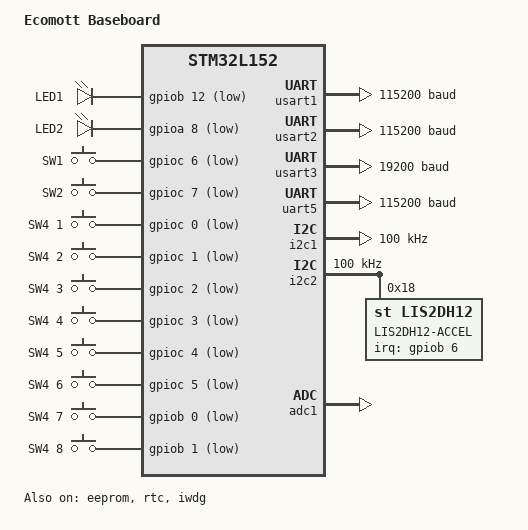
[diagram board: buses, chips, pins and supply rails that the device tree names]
/*
 * Copyright (c) 2020 Ecomott, Inc.
 *
 * SPDX-License-Identifier: Apache-2.0
 */

/dts-v1/;
#include <st/l1/stm32l152Xe.dtsi>

/ {
	model = "Ecomott Baseboard";
	compatible = "st,stm32l152re-nucleo", "st,stm32l152";

	chosen {
		zephyr,console = &usart1;
		zephyr,shell-uart = &usart1;
		zephyr,sram = &sram0;
		zephyr,flash = &flash0;
	};

	leds {
		compatible = "gpio-leds";

		led_1: led_0 {
			gpios = <&gpiob 12 GPIO_ACTIVE_LOW>;
			label = "LED1";
		};
		led_2: led_1 {
			gpios = <&gpioa 8 GPIO_ACTIVE_LOW>;
			label = "LED2";
		};
	};

	gpio_keys {
		compatible = "gpio-keys";

		/* Tact SW */
		sw_1: sw_1 {
			label = "SW1";
			gpios = <&gpioc 6 GPIO_ACTIVE_LOW>;
		};
		sw_2: sw_2 {
			label = "SW2";
			gpios = <&gpioc 7 GPIO_ACTIVE_LOW>;
		};

		/* DIP SW */
		sw_4_1: sw_4_1 {
			label = "SW4 1";
			gpios = <&gpioc 0 (GPIO_PULL_UP | GPIO_ACTIVE_LOW)>;
		};
		sw_4_2: sw_4_2 {
			label = "SW4 2";
			gpios = <&gpioc 1 (GPIO_PULL_UP | GPIO_ACTIVE_LOW)>;
		};
		sw_4_3: sw_4_3 {
			label = "SW4 3";
			gpios = <&gpioc 2 (GPIO_PULL_UP | GPIO_ACTIVE_LOW)>;
		};
		sw_4_4: sw_4_4 {
			label = "SW4 4";
			gpios = <&gpioc 3 (GPIO_PULL_UP | GPIO_ACTIVE_LOW)>;
		};
		sw_4_5: sw_4_5 {
			label = "SW4 5";
			gpios = <&gpioc 4 (GPIO_PULL_UP | GPIO_ACTIVE_LOW)>;
		};
		sw_4_6: sw_4_6 {
			label = "SW4 6";
			gpios = <&gpioc 5 (GPIO_PULL_UP | GPIO_ACTIVE_LOW)>;
		};
		sw_4_7: sw_4_7 {
			label = "SW4 7";
			gpios = <&gpiob 0 (GPIO_PULL_UP | GPIO_ACTIVE_LOW)>;
		};
		sw_4_8: sw_4_8 {
			label = "SW4 8";
			gpios = <&gpiob 1 (GPIO_PULL_UP | GPIO_ACTIVE_LOW)>;
		};
	};

	/* These aliases are provided for compatibility with samples */
	aliases {
		led0 = &led_1;
		led1 = &led_2;

		sw0 = &sw_1;
		sw1 = &sw_2;

		sw2 = &sw_4_1;
		sw3 = &sw_4_2;
		sw4 = &sw_4_3;
		sw5 = &sw_4_4;
		sw6 = &sw_4_5;
		sw7 = &sw_4_6;
		sw8 = &sw_4_7;
		sw9 = &sw_4_8;

		eeprom-0 = &eeprom;
	};
};

&usart1 {
	current-speed = <115200>;
	status = "okay";
};

&usart2 {
	current-speed = <115200>;
	status = "okay";
};

&usart3 {
	current-speed = <19200>;
	status = "okay";
};

&uart5 {
	current-speed = <115200>;
	status = "okay";
};

&eeprom {
	status = "okay";
};

&i2c1 {
	clock-frequency = <I2C_BITRATE_STANDARD>;
	status = "okay";
};

&i2c2 {
	clock-frequency = <I2C_BITRATE_STANDARD>;
	status = "okay";

	lis2dh12: lis2dh12@18 {
		compatible = "st,lis2dh12", "st,lis2dh";
		reg = <0x18>;
		irq-gpios = <&gpiob 6 GPIO_ACTIVE_HIGH>;
		label = "LIS2DH12-ACCEL";
	};
};

&adc1 {
	status = "okay";
};

&rtc {
	status = "okay";
};

&iwdg {
	status = "okay";
};
